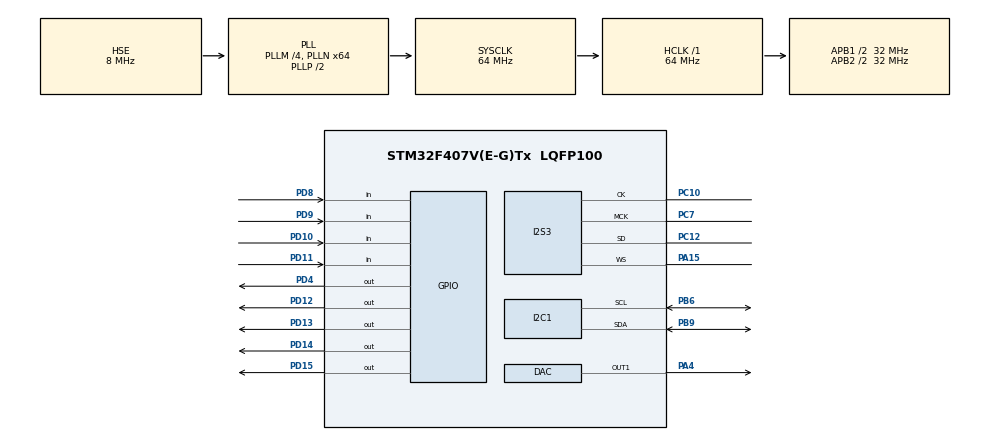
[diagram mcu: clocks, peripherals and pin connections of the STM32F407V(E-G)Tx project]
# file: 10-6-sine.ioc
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Dma.Request0=SPI3_TX
Dma.SPI3_TX.0.Direction=DMA_MEMORY_TO_PERIPH
Dma.SPI3_TX.0.FIFOMode=DMA_FIFOMODE_ENABLE
Dma.SPI3_TX.0.FIFOThreshold=DMA_FIFO_THRESHOLD_FULL
Dma.SPI3_TX.0.Instance=DMA1_Stream5
Dma.SPI3_TX.0.MemBurst=DMA_MBURST_SINGLE
Dma.SPI3_TX.0.MemDataAlignment=DMA_MDATAALIGN_HALFWORD
Dma.SPI3_TX.0.MemInc=DMA_MINC_ENABLE
Dma.SPI3_TX.0.Mode=DMA_CIRCULAR
Dma.SPI3_TX.0.PeriphBurst=DMA_PBURST_SINGLE
Dma.SPI3_TX.0.PeriphDataAlignment=DMA_PDATAALIGN_HALFWORD
Dma.SPI3_TX.0.PeriphInc=DMA_PINC_DISABLE
Dma.SPI3_TX.0.Priority=DMA_PRIORITY_LOW
I2S3.AudioFreq=I2S_AUDIOFREQ_48K
I2S3.ErrorAudioFreq=1.72 %
I2S3.FullDuplexMode=I2S_FULLDUPLEXMODE_DISABLE
I2S3.Instance=SPI$Index
I2S3.RealAudioFreq=48.828 KHz
I2S3.VirtualMode=I2S_MODE_MASTER
Mcu.Family=STM32F4
Mcu.Name=STM32F407V(E-G)Tx
Mcu.Package=LQFP100
NVIC.DMA1_Stream5_IRQn=true\:0\:0\:false\:false\:true\:false\:true\:true
NVIC.PriorityGroup=NVIC_PRIORITYGROUP_0
NVIC.TIM2_IRQn=true\:0\:0\:false\:false\:true\:true\:true\:true
PA15.Mode=Half_Duplex_Master
PA15.Signal=I2S3_WS
PA4.Signal=COMP_DAC1_group
PB6.Mode=I2C
PB6.Signal=I2C1_SCL
PB9.Mode=I2C
PB9.Signal=I2C1_SDA
PC10.Mode=Half_Duplex_Master
PC10.Signal=I2S3_CK
PC12.Mode=Half_Duplex_Master
PC12.Signal=I2S3_SD
PC7.Mode=Master_Clock_Activated
PC7.Signal=I2S3_MCK
PD10.Signal=GPIO_Input
PD11.Signal=GPIO_Input
PD12.Signal=GPIO_Output
PD13.Signal=GPIO_Output
PD14.Signal=GPIO_Output
PD15.Signal=GPIO_Output
PD4.Signal=GPIO_Output
PD8.Signal=GPIO_Input
PD9.Signal=GPIO_Input
PH0-OSC_IN.Mode=HSE-External-Oscillator
PH0-OSC_IN.Signal=RCC_OSC_IN
PH1-OSC_OUT.Mode=HSE-External-Oscillator
PH1-OSC_OUT.Signal=RCC_OSC_OUT
ProjectManager.HeapSize=0x200
ProjectManager.StackSize=0x400
ProjectManager.TargetToolchain=STM32CubeIDE
RCC.48MHZClocksFreq_Value=18285714.285714287
RCC.AHBFreq_Value=64000000
RCC.APB1CLKDivider=RCC_HCLK_DIV2
RCC.APB1Freq_Value=32000000
RCC.APB1TimFreq_Value=64000000
RCC.APB2CLKDivider=RCC_HCLK_DIV2
RCC.APB2Freq_Value=32000000
RCC.APB2TimFreq_Value=64000000
RCC.CortexFreq_Value=64000000
RCC.HCLKFreq_Value=64000000
RCC.HSE_VALUE=8000000
RCC.HSI_VALUE=16000000
RCC.LSE_VALUE=32768
RCC.PLLI2SN=50
RCC.PLLM=4
RCC.PLLN=64
RCC.PLLQ=7
RCC.PLLSourceVirtual=RCC_PLLSOURCE_HSE
RCC.SYSCLKFreq_VALUE=64000000
RCC.SYSCLKSource=RCC_SYSCLKSOURCE_PLLCLK
RCC.VCOOutputFreq_Value=128000000
SH.COMP_DAC1_group.0=DAC_OUT1,DAC_OUT1
TIM2.Period=255
TIM2.Prescaler=1
TIM2.TIM_MasterOutputTrigger=TIM_TRGO_UPDATE
VP_TIM2_VS_ClockSourceINT.Mode=Internal
board=STM32F407G-DISC1

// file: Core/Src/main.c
/* USER CODE BEGIN Header */
/**
  ******************************************************************************
  * @file           : main.c
  * @brief          : Main program body
  ******************************************************************************
  * @attention
  *
  * Copyright (c) 2023 STMicroelectronics.
  * All rights reserved.
  *
  * This software is licensed under terms that can be found in the LICENSE file
  * in the root directory of this software component.
  * If no LICENSE file comes with this software, it is provided AS-IS.
  *
  ******************************************************************************
  */
/* USER CODE END Header */
#ifndef __MAIN_C
#define __MAIN_C
#include "main.h"

/* USER CODE BEGIN Includes */
#include "MY_CS43L22.h"
#include <math.h>
#include "adpcm.h"

//including in the sound file
#include "afnm.h"
#include "cowbell.h"
#include "floortom.h"
#include "hat.h"
#include "ride.h"
#include "snare.h"
//#endif
/* USER CODE END Includes */

/* USER CODE BEGIN PD */
#define PI 3.14159f

#define F_SAMPLE			50000.0f
#define F_OUT				300.0f

//playback defines -db
tTwoByte newSample;
static AudioElement AudioFile;
static uint8_t AudioFileToPlay = 0; //new -db, temporarily choosing to play new file
/* USER CODE END PD */

DAC_HandleTypeDef hdac;

I2C_HandleTypeDef hi2c1;

I2S_HandleTypeDef hi2s3;
DMA_HandleTypeDef hdma_spi3_tx;

TIM_HandleTypeDef htim2;

void SystemClock_Config(void);
static void MX_GPIO_Init(void);
static void MX_DMA_Init(void);
static void MX_I2C1_Init(void);
static void MX_I2S3_Init(void);
static void MX_DAC_Init(void);
static void MX_TIM2_Init(void);
/* USER CODE BEGIN PFP */

float mySinVal;
float sample_dt;
uint16_t sample_N;
uint16_t i_t;

uint32_t myDacVal;

int16_t I2S_dummy[4]; //dummy byte for the i2s
/* USER CODE END PFP */

int main(void)
{
  /* USER CODE BEGIN 1 */
	sample_dt = F_OUT/F_SAMPLE;
	sample_N = F_SAMPLE/F_OUT;
  /* USER CODE END 1 */

  /* MCU Configuration--------------------------------------------------------*/

  /* Reset of all peripherals, Initializes the Flash interface and the Systick. */
  HAL_Init();

  /* Configure the system clock */
  SystemClock_Config();

  /* Initialize all configured peripherals */
  MX_GPIO_Init();
  MX_DMA_Init();
  MX_I2C1_Init();
  MX_I2S3_Init();
  MX_DAC_Init();
  MX_TIM2_Init();
  /* USER CODE BEGIN 2 */
  CS43_Init(hi2c1);//, MODE_ANALOG);
  CS43_SetVolume(50);
  CS43_Enable_RightLeft(CS43_RIGHT_LEFT);
  CS43_Start();

  HAL_I2S_Transmit_DMA(&hi2s3, (uint16_t *)I2S_dummy, 4);
  HAL_DAC_Start(&hdac,DAC_CHANNEL_1);

  HAL_TIM_Base_Start_IT(&htim2);
  /* USER CODE END 2 */

  /* Infinite loop */
  /* USER CODE BEGIN WHILE */

	AudioFile.AudioFiles[0] = (uint32_t)&afnm;
	AudioFile.AudioSize[0] = NELEMS(afnm);

	//new -db
	AudioFile.AudioFiles[1] = (uint32_t)&cowbell;
	AudioFile.AudioSize[1] = NELEMS(cowbell);

	AudioFile.AudioFiles[2] = (uint32_t)&floortom;
	AudioFile.AudioSize[2] = NELEMS(floortom);

	AudioFile.AudioFiles[3] = (uint32_t)&hat;
	AudioFile.AudioSize[3] = NELEMS(hat);

	AudioFile.AudioFiles[4] = (uint32_t)&ride;
	AudioFile.AudioSize[4] = NELEMS(ride);

	AudioFile.AudioFiles[5] = (uint32_t)&snare;
	AudioFile.AudioSize[5] = NELEMS(snare);

  while (1)
  {
    /* USER CODE END WHILE */

  }
}

void SystemClock_Config(void)
{
  RCC_OscInitTypeDef RCC_OscInitStruct = {0};
  RCC_ClkInitTypeDef RCC_ClkInitStruct = {0};

  /** Configure the main internal regulator output voltage
  */
  __HAL_RCC_PWR_CLK_ENABLE();
  __HAL_PWR_VOLTAGESCALING_CONFIG(PWR_REGULATOR_VOLTAGE_SCALE1);

  /** Initializes the RCC Oscillators according to the specified parameters
  * in the RCC_OscInitTypeDef structure.
  */
  RCC_OscInitStruct.OscillatorType = RCC_OSCILLATORTYPE_HSE;
  RCC_OscInitStruct.HSEState = RCC_HSE_ON;
  RCC_OscInitStruct.PLL.PLLState = RCC_PLL_ON;
  RCC_OscInitStruct.PLL.PLLSource = RCC_PLLSOURCE_HSE;
  RCC_OscInitStruct.PLL.PLLM = 4;
  RCC_OscInitStruct.PLL.PLLN = 64;
  RCC_OscInitStruct.PLL.PLLP = RCC_PLLP_DIV2;
  RCC_OscInitStruct.PLL.PLLQ = 7;
  if (HAL_RCC_OscConfig(&RCC_OscInitStruct) != HAL_OK)
  {
    Error_Handler();
  }

  /** Initializes the CPU, AHB and APB buses clocks
  */
  RCC_ClkInitStruct.ClockType = RCC_CLOCKTYPE_HCLK|RCC_CLOCKTYPE_SYSCLK
                              |RCC_CLOCKTYPE_PCLK1|RCC_CLOCKTYPE_PCLK2;
  RCC_ClkInitStruct.SYSCLKSource = RCC_SYSCLKSOURCE_PLLCLK;
  RCC_ClkInitStruct.AHBCLKDivider = RCC_SYSCLK_DIV1;
  RCC_ClkInitStruct.APB1CLKDivider = RCC_HCLK_DIV2;
  RCC_ClkInitStruct.APB2CLKDivider = RCC_HCLK_DIV2;

  if (HAL_RCC_ClockConfig(&RCC_ClkInitStruct, FLASH_LATENCY_2) != HAL_OK)
  {
    Error_Handler();
  }
}

static void MX_DAC_Init(void)
{

  DAC_ChannelConfTypeDef sConfig = {0};

  /** DAC Initialization
  */
  hdac.Instance = DAC;
  if (HAL_DAC_Init(&hdac) != HAL_OK)
  {
    Error_Handler();
  }

  /** DAC channel OUT1 config
  */
  sConfig.DAC_Trigger = DAC_TRIGGER_NONE;
  sConfig.DAC_OutputBuffer = DAC_OUTPUTBUFFER_ENABLE;
  if (HAL_DAC_ConfigChannel(&hdac, &sConfig, DAC_CHANNEL_1) != HAL_OK)
  {
    Error_Handler();
  }

}

static void MX_I2C1_Init(void)
{

  hi2c1.Instance = I2C1;
  hi2c1.Init.ClockSpeed = 100000;
  hi2c1.Init.DutyCycle = I2C_DUTYCYCLE_2;
  hi2c1.Init.OwnAddress1 = 0;
  hi2c1.Init.AddressingMode = I2C_ADDRESSINGMODE_7BIT;
  hi2c1.Init.DualAddressMode = I2C_DUALADDRESS_DISABLE;
  hi2c1.Init.OwnAddress2 = 0;
  hi2c1.Init.GeneralCallMode = I2C_GENERALCALL_DISABLE;
  hi2c1.Init.NoStretchMode = I2C_NOSTRETCH_DISABLE;
  if (HAL_I2C_Init(&hi2c1) != HAL_OK)
  {
    Error_Handler();
  }

}

static void MX_I2S3_Init(void)
{

  hi2s3.Instance = SPI3;
  hi2s3.Init.Mode = I2S_MODE_MASTER_TX;
  hi2s3.Init.Standard = I2S_STANDARD_PHILIPS;
  hi2s3.Init.DataFormat = I2S_DATAFORMAT_16B;
  hi2s3.Init.MCLKOutput = I2S_MCLKOUTPUT_ENABLE;
  hi2s3.Init.AudioFreq = I2S_AUDIOFREQ_48K;
  hi2s3.Init.CPOL = I2S_CPOL_LOW;
  hi2s3.Init.ClockSource = I2S_CLOCK_PLL;
  hi2s3.Init.FullDuplexMode = I2S_FULLDUPLEXMODE_DISABLE;
  if (HAL_I2S_Init(&hi2s3) != HAL_OK)
  {
    Error_Handler();
  }

}

static void MX_TIM2_Init(void)
{

  TIM_ClockConfigTypeDef sClockSourceConfig = {0};
  TIM_MasterConfigTypeDef sMasterConfig = {0};

  htim2.Instance = TIM2;
  htim2.Init.Prescaler = 1;
  htim2.Init.CounterMode = TIM_COUNTERMODE_UP;
  htim2.Init.Period = 255;
  htim2.Init.ClockDivision = TIM_CLOCKDIVISION_DIV1;
  htim2.Init.AutoReloadPreload = TIM_AUTORELOAD_PRELOAD_DISABLE;
  if (HAL_TIM_Base_Init(&htim2) != HAL_OK)
  {
    Error_Handler();
  }
  sClockSourceConfig.ClockSource = TIM_CLOCKSOURCE_INTERNAL;
  if (HAL_TIM_ConfigClockSource(&htim2, &sClockSourceConfig) != HAL_OK)
  {
    Error_Handler();
  }
  sMasterConfig.MasterOutputTrigger = TIM_TRGO_UPDATE;
  sMasterConfig.MasterSlaveMode = TIM_MASTERSLAVEMODE_DISABLE;
  if (HAL_TIMEx_MasterConfigSynchronization(&htim2, &sMasterConfig) != HAL_OK)
  {
    Error_Handler();
  }

}

static void MX_DMA_Init(void)
{

  /* DMA controller clock enable */
  __HAL_RCC_DMA1_CLK_ENABLE();

  /* DMA interrupt init */
  /* DMA1_Stream5_IRQn interrupt configuration */
  HAL_NVIC_SetPriority(DMA1_Stream5_IRQn, 0, 0);
  HAL_NVIC_EnableIRQ(DMA1_Stream5_IRQn);

}

static void MX_GPIO_Init(void)
{
  GPIO_InitTypeDef GPIO_InitStruct = {0};

  /* GPIO Ports Clock Enable */
  __HAL_RCC_GPIOH_CLK_ENABLE();
  __HAL_RCC_GPIOA_CLK_ENABLE();
  __HAL_RCC_GPIOD_CLK_ENABLE();
  __HAL_RCC_GPIOC_CLK_ENABLE();
  __HAL_RCC_GPIOB_CLK_ENABLE();

  /*Configure GPIO pin Output Level */
  HAL_GPIO_WritePin(GPIOD, GPIO_PIN_12|GPIO_PIN_13|GPIO_PIN_14|GPIO_PIN_15
                          |GPIO_PIN_4, GPIO_PIN_RESET);

  /*Configure GPIO pins : PD12 PD13 PD14 PD15
                           PD4 */
  GPIO_InitStruct.Pin = GPIO_PIN_12|GPIO_PIN_13|GPIO_PIN_14|GPIO_PIN_15
                          |GPIO_PIN_4;
  GPIO_InitStruct.Mode = GPIO_MODE_OUTPUT_PP;
  GPIO_InitStruct.Pull = GPIO_NOPULL;
  GPIO_InitStruct.Speed = GPIO_SPEED_FREQ_LOW;
  HAL_GPIO_Init(GPIOD, &GPIO_InitStruct);

}

/* USER CODE BEGIN 4 */
void HAL_TIM_PeriodElapsedCallback(TIM_HandleTypeDef *htim)
{
  /* Prevent unused argument(s) compilation warning */
  UNUSED(htim);
  /* NOTE : This function Should not be modified, when the callback is needed,
            the __HAL_TIM_PeriodElapsedCallback could be implemented in the user file
   */

	if(htim->Instance == TIM2)
	{
	  /* USER CODE BEGIN TIM3_IRQn 0 */
		uint8_t  adpcmSample;
		static uint16_t pcmSample;
		static uint8_t nibble = 1;
		static uint8_t repetition = 0;
		static uint16_t sample_position = 0;
		static unsigned char *RawAudio;
		static uint8_t PrevAudioFileToPlay = 0xFF;

		static uint8_t play_sound = 0;
		static uint8_t end_of_file = 1;
		static uint8_t retrigger = 0;

		static GPIO_PinState pin8;
		static GPIO_PinState pin9;
		static GPIO_PinState pin10;
		static GPIO_PinState pin11;

		pin8 = HAL_GPIO_ReadPin(GPIOD, GPIO_PIN_8);
		pin9 = HAL_GPIO_ReadPin(GPIOD, GPIO_PIN_9);
		pin10 = HAL_GPIO_ReadPin(GPIOD, GPIO_PIN_10);
		pin11 = HAL_GPIO_ReadPin(GPIOD, GPIO_PIN_11);

		if(pin8 == GPIO_PIN_SET || pin9 == GPIO_PIN_SET
		|| pin10 == GPIO_PIN_SET || pin11== GPIO_PIN_SET
		|| end_of_file == 0)
		{
			play_sound = 1;
			end_of_file = 0;

		} else {
			play_sound = 0;
		}

		if(play_sound == 0)
		{
			PrevAudioFileToPlay = AudioFileToPlay;
			nibble = 1;
			repetition = 0;
			sample_position = 0;
			RawAudio = (unsigned char *)AudioFile.AudioFiles[AudioFileToPlay];
		}

		if ((HAL_GPIO_ReadPin(GPIOD, GPIO_PIN_8) == GPIO_PIN_SET) && retrigger == 1){
			AudioFileToPlay = 5; //snare
			retrigger = 0;
			PrevAudioFileToPlay = -1;
		} else if ((HAL_GPIO_ReadPin(GPIOD, GPIO_PIN_9) == GPIO_PIN_SET) && retrigger == 1){
			AudioFileToPlay = 4; //ride
			retrigger = 0;
			PrevAudioFileToPlay = -1;
		} else if ((HAL_GPIO_ReadPin(GPIOD, GPIO_PIN_10) == GPIO_PIN_SET) && retrigger == 1){
			AudioFileToPlay = 2; //floortom
			retrigger = 0;
			PrevAudioFileToPlay = -1;
		} else if ((HAL_GPIO_ReadPin(GPIOD, GPIO_PIN_11) == GPIO_PIN_SET) && retrigger == 1){
			AudioFileToPlay = 3; //hat
			retrigger = 0;
			PrevAudioFileToPlay = -1;
		} else if (HAL_GPIO_ReadPin(GPIOD, GPIO_PIN_8) != GPIO_PIN_SET ||
				HAL_GPIO_ReadPin(GPIOD, GPIO_PIN_9) != GPIO_PIN_SET ||
				HAL_GPIO_ReadPin(GPIOD, GPIO_PIN_10) != GPIO_PIN_SET ||
				HAL_GPIO_ReadPin(GPIOD, GPIO_PIN_11) != GPIO_PIN_SET) {
			retrigger = 1;
		}

		//picking file to play!!!
		if(PrevAudioFileToPlay != AudioFileToPlay)
		{
			PrevAudioFileToPlay = AudioFileToPlay;
			nibble = 1;
			repetition = 0;
			sample_position = 0;
			RawAudio = (unsigned char *)AudioFile.AudioFiles[AudioFileToPlay];
		}

			if (sample_position >= AudioFile.AudioSize[AudioFileToPlay] && sample_position != 0)
			{
				end_of_file = 1;
				PrevAudioFileToPlay = -1; //allow retrigger if end of sample reached
				sample_position = 0;
			}

			else if ((repetition==0) & (sample_position < AudioFile.AudioSize[AudioFileToPlay])
					&& play_sound == 1 && end_of_file == 0)
			{  // new sample is generated
				repetition = 7;	// reinitialize repetition down counter
				if (nibble)
				{   // first 4 bits of the ADPCM byte decoded
					adpcmSample = (uint8_t)(RawAudio[sample_position] >> 4);
				}
				else
				{   // last 4 bits of the ADPCM byte decoded
					adpcmSample = (uint8_t)(RawAudio[sample_position] & 0x0F);
					sample_position++ ;
				}

				nibble = (uint8_t)(!nibble);/* indicator inverted mean next interrupt will handle
																						 the second part of the byte.  */
				pcmSample = ADPCM_Decode(adpcmSample);

				// update sample
				newSample.uShort = (uint16_t)32768 + pcmSample;
				TIM2->CCR2 = newSample.uBytes[0]; //LSB
				TIM2->CCR1 = newSample.uBytes[1]; //MSB
				HAL_DAC_SetValue(&hdac, DAC_CHANNEL_1, DAC_ALIGN_12B_R, (newSample.uShort)>>4);
			}
			else if (sample_position < AudioFile.AudioSize[AudioFileToPlay] && play_sound == 1 && end_of_file == 0)
			{  // repetition 7 more times of the PWM period before new sample, total of times the same value is repeated = 8
				repetition--;

				// reload Timer with the actual sample value
				newSample.uShort = (uint16_t)32768 + pcmSample;
				TIM2->CCR2 = newSample.uBytes[0]; //LSB
				TIM2->CCR1 = newSample.uBytes[1]; //MSB

				HAL_DAC_SetValue(&hdac, DAC_CHANNEL_1, DAC_ALIGN_12B_R, (newSample.uShort)>>4);

			}

	  /* USER CODE END TIM3_IRQn 0 */
	  /* USER CODE BEGIN TIM3_IRQn 1 */
	}
	  /* USER CODE END TIM3_IRQn 1 */
}

/* USER CODE END 4 */

void Error_Handler(void)
{
  __disable_irq();
  while (1)
  {
  }
}

#endif
